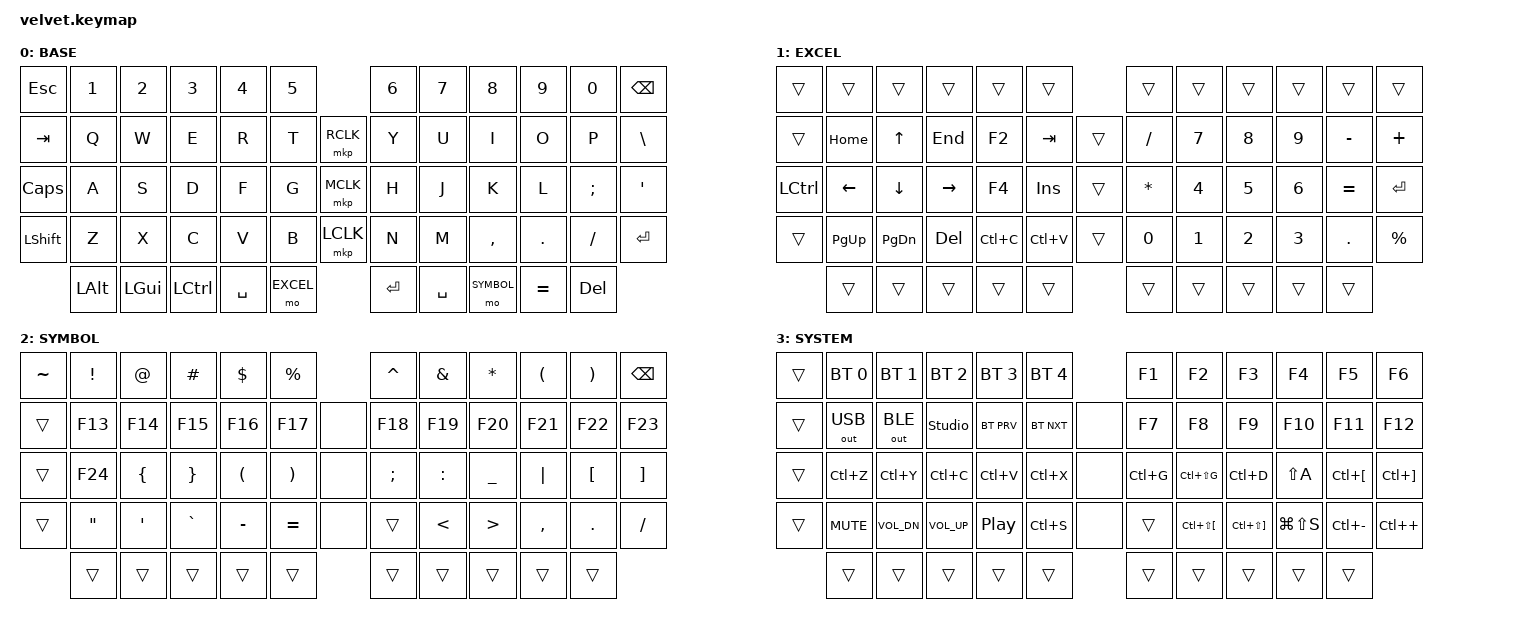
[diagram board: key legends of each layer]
#define BASE 0
#define EXCEL 1
#define SYMBOL 2
#define SYSTEM 3

#include <behaviors.dtsi>
#include <dt-bindings/zmk/bt.h>
#include <dt-bindings/zmk/keys.h>
#include <dt-bindings/zmk/outputs.h>
#include <dt-bindings/zmk/pointing.h>

/ {
    conditional_layers {
        compatible = "zmk,conditional-layers";
        system_layer {
            if-layers = <EXCEL SYMBOL>;
            then-layer = <SYSTEM>;
        };
    };

    combos {
        compatible = "zmk,combos";
        studio_unlock_combo {
            timeout-ms = <50>;
            key-positions = <14 28 40>;
            bindings = <&studio_unlock>;
        };
        excel_fallback {
            timeout-ms = <40>;
            key-positions = <13 14 15>;
            bindings = <&mo EXCEL>;
            layers = <BASE>;
        };
        symbol_fallback {
            timeout-ms = <40>;
            key-positions = <20 21 22>;
            bindings = <&mo SYMBOL>;
            layers = <BASE>;
        };
        clear_selected_profile {
            timeout-ms = <50>;
            key-positions = <0 60>;
            bindings = <&bt BT_CLR>;
            layers = <SYSTEM>;
        };
    };

    keymap {
        compatible = "zmk,keymap";

        base_layer {
            display-name = "BASE";
            // Keep the user's saved BASE layout, including the virtual mouse buttons.
            bindings = <
&kp ESC    &kp N1    &kp N2    &kp N3    &kp N4    &kp N5           &kp N6     &kp N7     &kp N8     &kp N9     &kp N0     &kp BSPC
&kp TAB    &kp Q     &kp W     &kp E     &kp R     &kp T    &mkp RCLK &kp Y    &kp U      &kp I      &kp O      &kp P      &kp BSLH
&kp CAPS   &kp A     &kp S     &kp D     &kp F     &kp G    &mkp MCLK &kp H    &kp J      &kp K      &kp L      &kp SEMI   &kp APOS
&kp LSHFT  &kp Z     &kp X     &kp C     &kp V     &kp B    &mkp LCLK &kp N    &kp M      &kp COMMA  &kp DOT    &kp FSLH   &kp ENTER
           &kp LALT  &kp LGUI  &kp LCTRL &kp SPACE &mo EXCEL        &kp ENTER  &kp SPACE  &mo SYMBOL &kp EQUAL  &kp DEL
            >;
        };

        excel_layer {
            display-name = "EXCEL";
            bindings = <
&trans     &trans    &trans    &trans    &trans    &trans          &trans     &trans     &trans     &trans     &trans     &trans
&trans     &kp HOME  &kp UP    &kp END   &kp F2    &kp TAB &trans  &kp FSLH   &kp N7     &kp N8     &kp N9     &kp MINUS  &kp PLUS
&kp LCTRL  &kp LEFT  &kp DOWN  &kp RIGHT &kp F4    &kp INS &trans  &kp STAR   &kp N4     &kp N5     &kp N6     &kp EQUAL  &kp ENTER
&trans     &kp PG_UP &kp PG_DN &kp DEL   &kp LC(C) &kp LC(V) &trans &kp N0    &kp N1     &kp N2     &kp N3     &kp DOT    &kp PRCNT
           &trans   &trans    &trans   &trans    &trans           &trans     &trans     &trans     &trans     &trans
            >;
        };

        symbol_layer {
            display-name = "SYMBOL";
            bindings = <
&kp TILDE  &kp EXCL  &kp AT    &kp HASH  &kp DLLR  &kp PRCNT       &kp CARET  &kp AMPS   &kp STAR   &kp LPAR   &kp RPAR   &kp BSPC
&trans     &kp F13   &kp F14   &kp F15   &kp F16   &kp F17 &none   &kp F18    &kp F19    &kp F20    &kp F21    &kp F22    &kp F23
&trans     &kp F24   &kp LBRC  &kp RBRC  &kp LPAR  &kp RPAR &none  &kp SEMI   &kp COLON  &kp UNDER  &kp PIPE   &kp LBKT   &kp RBKT
&trans     &kp DQT   &kp SQT   &kp GRAVE &kp MINUS &kp EQUAL &none &trans     &kp LT     &kp GT     &kp COMMA  &kp DOT    &kp FSLH
           &trans   &trans    &trans   &trans    &trans           &trans     &trans     &trans     &trans     &trans
            >;
        };

        system_layer {
            display-name = "SYSTEM";
            bindings = <
&trans     &bt BT_SEL 0 &bt BT_SEL 1 &bt BT_SEL 2 &bt BT_SEL 3 &bt BT_SEL 4       &kp F1      &kp F2      &kp F3      &kp F4      &kp F5       &kp F6
&trans     &out OUT_USB &out OUT_BLE &studio_unlock &bt BT_PRV &bt BT_NXT &none  &kp F7      &kp F8      &kp F9      &kp F10     &kp F11      &kp F12
&trans     &kp LC(Z)   &kp LC(Y)   &kp LC(C)     &kp LC(V)   &kp LC(X) &none   &kp LC(G)   &kp LC(LS(G)) &kp LC(D)  &kp LS(A)   &kp LC(LBKT) &kp LC(RBKT)
&trans     &kp C_MUTE  &kp C_VOL_DN &kp C_VOL_UP  &kp C_PP    &kp LC(S) &none   &trans      &kp LC(LS(LBKT)) &kp LC(LS(RBKT)) &kp LG(LS(S)) &kp LC(MINUS) &kp LC(PLUS)
           &trans      &trans      &trans        &trans      &trans           &trans      &trans      &trans      &trans      &trans
            >;
        };
    };
};
